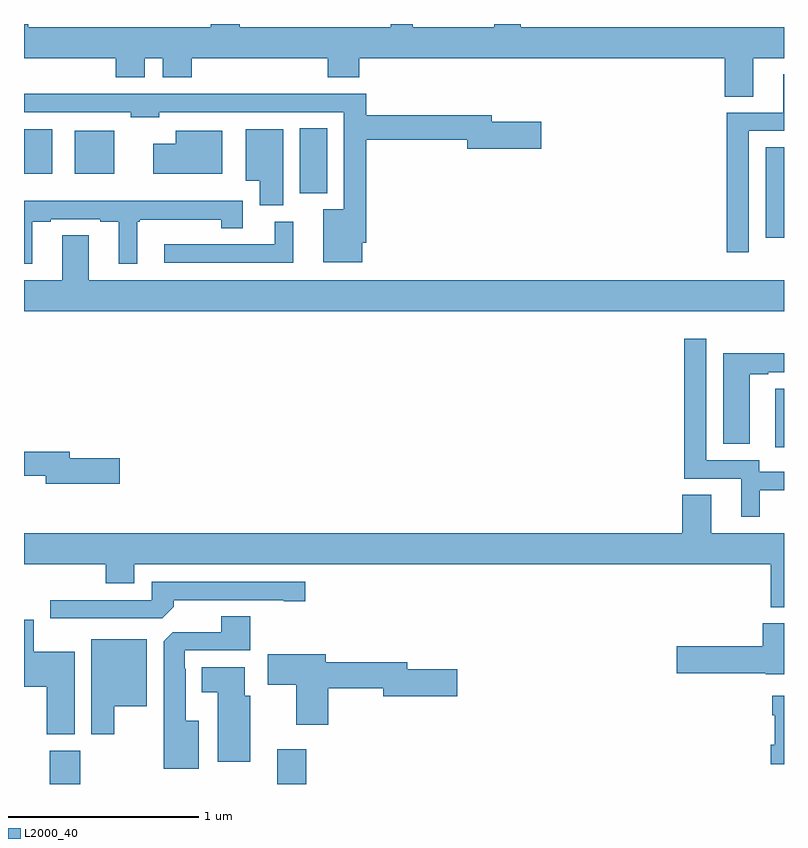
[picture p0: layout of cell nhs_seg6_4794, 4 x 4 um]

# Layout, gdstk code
import gdstk
lib = gdstk.Library(unit=1e-6, precision=1e-09)
def R(c, l, rs):  # rectangles x0, y0, x1, y1
    for r in rs: c.add(gdstk.rectangle(r[:2], r[2:], *l))
def P(c, l, *ps):  # polygons
    for p in ps: c.add(gdstk.Polygon(p, *l))
L2000_40 = (2000, 40)

nhs_seg6_4794 = lib.new_cell('nhs_seg6_4794')
R(nhs_seg6_4794, L2000_40, [(395.135,959.5,395.295,959.676), (396.332,959.5,396.485,959.683), (398.954,961.272,399,961.579), (398.903,962.374,399,962.851), (396.452,962.609,396.595,962.951), (395,962.711,395.149,962.947), (395.267,962.711,395.476,962.938)])
P(nhs_seg6_4794, L2000_40, [(398.839,963.32),(399,963.32),(399,963.484),(397.615,963.484),(397.615,963.5),(397.475,963.5),(397.475,963.484),(397.045,963.484),(397.045,963.5),(396.931,963.5),(396.931,963.484),(396.135,963.484),(396.135,963.5),(395.983,963.5),(395.983,963.484),(395.023,963.484),(395.023,963.5),(395,963.5),(395,963.32),(395.483,963.32),(395.483,963.221),(395.635,963.221),(395.635,963.32),(395.729,963.32),(395.729,963.221),(395.882,963.221),(395.882,963.32),(396.599,963.32),(396.599,963.221),(396.764,963.221),(396.764,963.32),(398.687,963.32),(398.687,963.118),(398.839,963.118)],
  [(398.814,962.937),(399,962.937),(399,963.235),(398.996,963.235),(398.996,963.033),(398.698,963.033),(398.698,962.298),(398.814,962.298)],
  [(396.781,962.35),(396.8,962.35),(396.8,962.89),(397.334,962.89),(397.334,962.843),(397.723,962.843),(397.723,962.985),(397.462,962.985),(397.462,963.019),(396.8,963.019),(396.8,963.132),(396.515,963.132),(396.515,963.134),(395.965,963.134),(395.965,963.132),(395.462,963.132),(395.462,963.134),(395,963.134),(395,963.036),(395.562,963.036),(395.562,963.008),(395.712,963.008),(395.712,963.036),(396.684,963.036),(396.684,962.524),(396.575,962.524),(396.575,962.246),(396.781,962.246)],
  [(396.364,962.947),(396.167,962.947),(396.167,962.675),(396.242,962.675),(396.242,962.545),(396.364,962.545)],
  [(396.043,962.938),(395.798,962.938),(395.798,962.869),(395.679,962.869),(395.679,962.711),(396.043,962.711)],
  [(395.044,962.46),(395.14,962.46),(395.14,962.472),(395.402,962.472),(395.402,962.46),(395.498,962.46),(395.498,962.237),(395.596,962.237),(395.596,962.46),(395.608,962.46),(395.608,962.471),(396.038,962.471),(396.038,962.425),(396.151,962.425),(396.151,962.569),(395,962.569),(395,962.237),(395.044,962.237)],
  [(396.418,962.46),(396.32,962.46),(396.32,962.34),(395.739,962.34),(395.739,962.244),(396.418,962.244)],
  [(399,962.152),(395.341,962.152),(395.341,962.387),(395.201,962.387),(395.201,962.152),(395,962.152),(395,961.988),(399,961.988)],
  [(398.872,961.047),(399,961.047),(399,961.143),(398.871,961.143),(398.871,961.203),(398.592,961.203),(398.592,961.843),(398.476,961.843),(398.476,961.107),(398.774,961.107),(398.774,960.906),(398.872,960.906)],
  [(398.821,961.656),(398.917,961.656),(398.917,961.668),(399,961.668),(399,961.767),(398.681,961.767),(398.681,961.29),(398.821,961.29)],
  [(395.503,961.214),(395.242,961.214),(395.242,961.25),(395,961.25),(395,961.122),(395.114,961.122),(395.114,961.079),(395.503,961.079)],
  [(399,960.82),(398.617,960.82),(398.617,961.022),(398.465,961.022),(398.465,960.82),(395,960.82),(395,960.656),(395.429,960.656),(395.429,960.557),(395.581,960.557),(395.581,960.656),(398.929,960.656),(398.929,960.431),(399,960.431)],
  [(395.789,960.434),(395.789,960.468),(396.368,960.468),(396.368,960.463),(396.481,960.463),(396.481,960.564),(395.673,960.564),(395.673,960.468),(395.139,960.468),(395.139,960.372),(395.727,960.372)],
  [(395.92,959.833),(395.851,959.833),(395.851,960.107),(395.847,960.107),(395.847,960.204),(396.191,960.204),(396.191,960.383),(396.038,960.383),(396.038,960.3),(395.784,960.3),(395.735,960.251),(395.735,959.579),(395.92,959.579)],
  [(395.266,960.196),(395.05,960.196),(395.05,960.364),(395,960.364),(395,960.011),(395.12,960.011),(395.12,959.761),(395.266,959.761)],
  [(399,960.346),(398.888,960.346),(398.888,960.225),(398.436,960.225),(398.436,960.083),(398.904,960.083),(398.904,960.077),(399,960.077)],
  [(395.476,959.909),(395.647,959.909),(395.647,960.262),(395.354,960.262),(395.354,959.763),(395.476,959.763)],
  [(396.602,960.004),(396.89,960.004),(396.89,959.962),(397.279,959.962),(397.279,960.104),(397.018,960.104),(397.018,960.14),(396.589,960.14),(396.589,960.184),(396.282,960.184),(396.282,960.022),(396.434,960.022),(396.434,959.811),(396.602,959.811)],
  [(396.19,959.964),(396.163,959.964),(396.163,960.115),(395.936,960.115),(395.936,959.984),(396.02,959.984),(396.02,959.616),(396.19,959.616)],
  [(399,959.965),(398.939,959.965),(398.939,959.861),(398.951,959.861),(398.951,959.707),(398.93,959.707),(398.93,959.603),(399,959.603)])

lib.write_gds('nhs_seg6_4794.gds')
